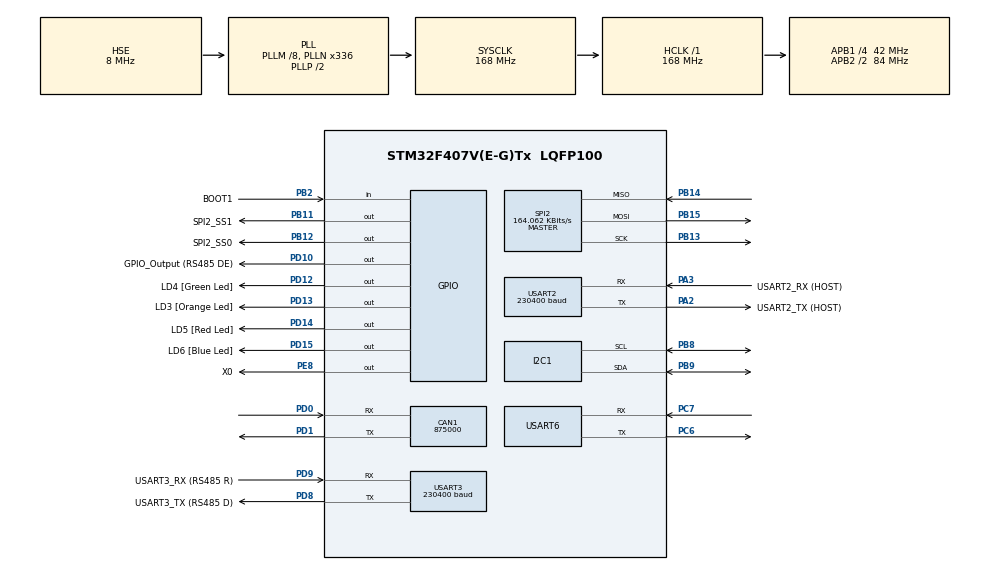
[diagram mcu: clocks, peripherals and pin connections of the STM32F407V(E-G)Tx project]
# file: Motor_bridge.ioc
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CAN1.CalculateBaudRate=875000
CAN1.CalculateTimeBit=1142
CAN1.CalculateTimeQuantum=380.95238095238096
Dma.Request0=USART2_RX
Dma.Request1=USART3_RX
Dma.USART2_RX.0.Direction=DMA_PERIPH_TO_MEMORY
Dma.USART2_RX.0.FIFOMode=DMA_FIFOMODE_DISABLE
Dma.USART2_RX.0.Instance=DMA1_Stream5
Dma.USART2_RX.0.MemDataAlignment=DMA_MDATAALIGN_BYTE
Dma.USART2_RX.0.MemInc=DMA_MINC_ENABLE
Dma.USART2_RX.0.Mode=DMA_NORMAL
Dma.USART2_RX.0.PeriphDataAlignment=DMA_PDATAALIGN_BYTE
Dma.USART2_RX.0.PeriphInc=DMA_PINC_DISABLE
Dma.USART2_RX.0.Priority=DMA_PRIORITY_HIGH
Dma.USART3_RX.1.Direction=DMA_PERIPH_TO_MEMORY
Dma.USART3_RX.1.FIFOMode=DMA_FIFOMODE_DISABLE
Dma.USART3_RX.1.Instance=DMA1_Stream1
Dma.USART3_RX.1.MemDataAlignment=DMA_MDATAALIGN_BYTE
Dma.USART3_RX.1.MemInc=DMA_MINC_ENABLE
Dma.USART3_RX.1.Mode=DMA_NORMAL
Dma.USART3_RX.1.PeriphDataAlignment=DMA_PDATAALIGN_BYTE
Dma.USART3_RX.1.PeriphInc=DMA_PINC_DISABLE
Dma.USART3_RX.1.Priority=DMA_PRIORITY_VERY_HIGH
FREERTOS.Tasks01=defaultTask,24,128,StartDefaultTask,Default,NULL,Dynamic,NULL,NULL
FREERTOS.configTOTAL_HEAP_SIZE=64000
FREERTOS.configUSE_NEWLIB_REENTRANT=1
Mcu.Family=STM32F4
Mcu.Name=STM32F407V(E-G)Tx
Mcu.Package=LQFP100
NVIC.DMA1_Stream1_IRQn=true\:5\:0\:false\:false\:true\:true\:false\:true\:true
NVIC.DMA1_Stream5_IRQn=true\:5\:0\:false\:false\:true\:true\:false\:true\:true
NVIC.PriorityGroup=NVIC_PRIORITYGROUP_4
NVIC.TIM6_DAC_IRQn=true\:15\:0\:false\:false\:true\:false\:false\:true\:true
NVIC.TimeBase=TIM6_DAC_IRQn
NVIC.TimeBaseIP=TIM6
NVIC.USART2_IRQn=true\:5\:0\:false\:false\:true\:true\:true\:true\:true
NVIC.USART3_IRQn=true\:5\:0\:false\:false\:true\:true\:true\:true\:true
PA13.GPIO_Label=SWDIO
PA13.Mode=Serial_Wire
PA13.Signal=SYS_JTMS-SWDIO
PA14.GPIO_Label=SWCLK
PA14.Mode=Serial_Wire
PA14.Signal=SYS_JTCK-SWCLK
PA2.GPIO_Label=USART2_TX (HOST)
PA2.Mode=Asynchronous
PA2.Signal=USART2_TX
PA3.GPIO_Label=USART2_RX (HOST)
PA3.Mode=Asynchronous
PA3.Signal=USART2_RX
PB11.GPIO_Label=SPI2_SS1
PB11.GPIO_PuPd=GPIO_PULLUP
PB11.Signal=GPIO_Output
PB12.GPIO_Label=SPI2_SS0
PB12.GPIO_PuPd=GPIO_PULLUP
PB12.Signal=GPIO_Output
PB13.Mode=Full_Duplex_Master
PB13.Signal=SPI2_SCK
PB14.Mode=Full_Duplex_Master
PB14.Signal=SPI2_MISO
PB15.Mode=Full_Duplex_Master
PB15.Signal=SPI2_MOSI
PB2.GPIO_Label=BOOT1
PB2.GPIO_PuPd=GPIO_PULLDOWN
PB2.Signal=GPIO_Input
PB3.Signal=SYS_JTDO-SWO
PB8.Mode=I2C
PB8.Signal=I2C1_SCL
PB9.Mode=I2C
PB9.Signal=I2C1_SDA
PC14-OSC32_IN.GPIO_Label=PC14-OSC32_IN
PC14-OSC32_IN.Mode=LSE-External-Oscillator
PC14-OSC32_IN.Signal=RCC_OSC32_IN
PC15-OSC32_OUT.GPIO_Label=PC15-OSC32_OUT
PC15-OSC32_OUT.Mode=LSE-External-Oscillator
PC15-OSC32_OUT.Signal=RCC_OSC32_OUT
PC6.Mode=Asynchronous
PC6.Signal=USART6_TX
PC7.Mode=Asynchronous
PC7.Signal=USART6_RX
PD0.Mode=CAN_Activate
PD0.Signal=CAN1_RX
PD1.Mode=CAN_Activate
PD1.Signal=CAN1_TX
PD10.GPIO_Label=GPIO_Output (RS485 DE)
PD10.GPIO_PuPd=GPIO_NOPULL
PD10.PinState=GPIO_PIN_RESET
PD10.Signal=GPIO_Output
PD12.GPIO_Label=LD4 [Green Led]
PD12.GPIO_PuPd=GPIO_NOPULL
PD12.GPIO_Speed=GPIO_SPEED_FREQ_LOW
PD12.Signal=GPIO_Output
PD13.GPIO_Label=LD3 [Orange Led]
PD13.GPIO_PuPd=GPIO_NOPULL
PD13.GPIO_Speed=GPIO_SPEED_FREQ_LOW
PD13.Signal=GPIO_Output
PD14.GPIO_Label=LD5 [Red Led]
PD14.GPIO_PuPd=GPIO_NOPULL
PD14.GPIO_Speed=GPIO_SPEED_FREQ_LOW
PD14.Signal=GPIO_Output
PD15.GPIO_Label=LD6 [Blue Led]
PD15.GPIO_PuPd=GPIO_NOPULL
PD15.GPIO_Speed=GPIO_SPEED_FREQ_LOW
PD15.Signal=GPIO_Output
PD8.GPIO_Label=USART3_TX (RS485 D)
PD8.Mode=Asynchronous
PD8.Signal=USART3_TX
PD9.GPIO_Label=USART3_RX (RS485 R)
PD9.Mode=Asynchronous
PD9.Signal=USART3_RX
PE8.GPIO_Label=X0
PE8.GPIO_PuPd=GPIO_PULLDOWN
PE8.PinState=GPIO_PIN_RESET
PE8.Signal=GPIO_Output
PH0-OSC_IN.GPIO_Label=PH0-OSC_IN
PH0-OSC_IN.Mode=HSE-External-Oscillator
PH0-OSC_IN.Signal=RCC_OSC_IN
PH1-OSC_OUT.GPIO_Label=PH1-OSC_OUT
PH1-OSC_OUT.Mode=HSE-External-Oscillator
PH1-OSC_OUT.Signal=RCC_OSC_OUT
ProjectManager.HeapSize=0x400
ProjectManager.StackSize=0x800
ProjectManager.TargetToolchain=STM32CubeIDE
RCC.48MHZClocksFreq_Value=48000000
RCC.AHBFreq_Value=168000000
RCC.APB1CLKDivider=RCC_HCLK_DIV4
RCC.APB1Freq_Value=42000000
RCC.APB1TimFreq_Value=84000000
RCC.APB2CLKDivider=RCC_HCLK_DIV2
RCC.APB2Freq_Value=84000000
RCC.APB2TimFreq_Value=168000000
RCC.CortexFreq_Value=168000000
RCC.HCLKFreq_Value=168000000
RCC.HSE_VALUE=8000000
RCC.HSI_VALUE=16000000
RCC.PLLM=8
RCC.PLLN=336
RCC.PLLQ=7
RCC.PLLSourceVirtual=RCC_PLLSOURCE_HSE
RCC.SYSCLKFreq_VALUE=168000000
RCC.SYSCLKSource=RCC_SYSCLKSOURCE_PLLCLK
RCC.VCOOutputFreq_Value=336000000
SPI2.BaudRatePrescaler=SPI_BAUDRATEPRESCALER_256
SPI2.CLKPhase=SPI_PHASE_2EDGE
SPI2.CLKPolarity=SPI_POLARITY_HIGH
SPI2.CalculateBaudRate=164.062 KBits/s
SPI2.Direction=SPI_DIRECTION_2LINES
SPI2.FirstBit=SPI_FIRSTBIT_LSB
SPI2.Mode=SPI_MODE_MASTER
SPI2.VirtualType=VM_MASTER
USART2.BaudRate=230400
USART2.VirtualMode=VM_ASYNC
USART3.BaudRate=230400
USART3.Parity=PARITY_EVEN
USART3.VirtualMode=VM_ASYNC
USART3.WordLength=WORDLENGTH_9B
USART6.VirtualMode=VM_ASYNC
VP_FREERTOS_VS_CMSIS_V2.Mode=CMSIS_V2
VP_SYS_VS_tim6.Mode=TIM6
board=STM32F407G-DISC1

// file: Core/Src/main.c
/* USER CODE BEGIN Header */
/**
 ******************************************************************************
 * @file           : main.c
 * @brief          : Main program body
 ******************************************************************************
 * @attention
 *
 * Copyright (c) 2025 STMicroelectronics.
 * All rights reserved.
 *
 * This software is licensed under terms that can be found in the LICENSE file
 * in the root directory of this software component.
 * If no LICENSE file comes with this software, it is provided AS-IS.
 *
 ******************************************************************************
 */
/* USER CODE END Header */
#include "main.h"
#include "cmsis_os.h"
#include "can.h"
#include "dma.h"
#include "i2c.h"
#include "spi.h"
#include "usart.h"
#include "gpio.h"

/* USER CODE BEGIN Includes */
#include <stdio.h>

#include "Agv_core/error_codes/error_common.h"
#include "agv_app.h"
/* USER CODE END Includes */

/* USER CODE BEGIN PV */
AgvCore agv_core;
AgvHostRosCfg host_ros_cfg;
AgvMotorBlvrConfig motor_blvr_cfg;
AgvCtrlPidConfig ctrl_pid_cfg;
AgvKineMecanumConfig kine_mecanum_cfg;
/* USER CODE END PV */

void SystemClock_Config(void);
void MX_FREERTOS_Init(void);

int main(void)
{

  /* MCU Configuration--------------------------------------------------------*/

  /* Reset of all peripherals, Initializes the Flash interface and the Systick. */
  HAL_Init();

  /* USER CODE BEGIN Init */
    setbuf(stdout, NULL);
  /* USER CODE END Init */

  /* Configure the system clock */
  SystemClock_Config();

  /* Initialize all configured peripherals */
  MX_GPIO_Init();
  MX_DMA_Init();
  MX_I2C1_Init();
  MX_USART2_UART_Init();
  MX_USART3_UART_Init();
  MX_CAN1_Init();
  MX_USART6_UART_Init();
  MX_SPI2_Init();
  /* USER CODE BEGIN 2 */
    Agv_garmin_init(&agv_core, &host_ros_cfg, &motor_blvr_cfg,
                    &kine_mecanum_cfg, &ctrl_pid_cfg);
    AGV_attach_core_task(&agv_core);
  /* USER CODE END 2 */

  /* Init scheduler */
  osKernelInitialize();  /* Call init function for freertos objects (in cmsis_os2.c) */
  MX_FREERTOS_Init();

  /* Start scheduler */
  osKernelStart();

  /* We should never get here as control is now taken by the scheduler */

  /* Infinite loop */
    while (1) {

    }
}

void SystemClock_Config(void)
{
  RCC_OscInitTypeDef RCC_OscInitStruct = {0};
  RCC_ClkInitTypeDef RCC_ClkInitStruct = {0};

  /** Configure the main internal regulator output voltage
  */
  __HAL_RCC_PWR_CLK_ENABLE();
  __HAL_PWR_VOLTAGESCALING_CONFIG(PWR_REGULATOR_VOLTAGE_SCALE1);

  /** Initializes the RCC Oscillators according to the specified parameters
  * in the RCC_OscInitTypeDef structure.
  */
  RCC_OscInitStruct.OscillatorType = RCC_OSCILLATORTYPE_HSE;
  RCC_OscInitStruct.HSEState = RCC_HSE_ON;
  RCC_OscInitStruct.PLL.PLLState = RCC_PLL_ON;
  RCC_OscInitStruct.PLL.PLLSource = RCC_PLLSOURCE_HSE;
  RCC_OscInitStruct.PLL.PLLM = 8;
  RCC_OscInitStruct.PLL.PLLN = 336;
  RCC_OscInitStruct.PLL.PLLP = RCC_PLLP_DIV2;
  RCC_OscInitStruct.PLL.PLLQ = 7;
  if (HAL_RCC_OscConfig(&RCC_OscInitStruct) != HAL_OK)
  {
    Error_Handler();
  }

  /** Initializes the CPU, AHB and APB buses clocks
  */
  RCC_ClkInitStruct.ClockType = RCC_CLOCKTYPE_HCLK|RCC_CLOCKTYPE_SYSCLK
                              |RCC_CLOCKTYPE_PCLK1|RCC_CLOCKTYPE_PCLK2;
  RCC_ClkInitStruct.SYSCLKSource = RCC_SYSCLKSOURCE_PLLCLK;
  RCC_ClkInitStruct.AHBCLKDivider = RCC_SYSCLK_DIV1;
  RCC_ClkInitStruct.APB1CLKDivider = RCC_HCLK_DIV4;
  RCC_ClkInitStruct.APB2CLKDivider = RCC_HCLK_DIV2;

  if (HAL_RCC_ClockConfig(&RCC_ClkInitStruct, FLASH_LATENCY_5) != HAL_OK)
  {
    Error_Handler();
  }
}

/* USER CODE BEGIN 4 */
int _write(int file, char* ptr, int len) {
    (void)file;
    for (int i = 0; i < len; i++) {
        ITM_SendChar((uint32_t)*ptr++);  // ITM Stimulus Port 0
    }
    return len;
}

/* USER CODE END 4 */

void HAL_TIM_PeriodElapsedCallback(TIM_HandleTypeDef *htim)
{
  if (htim->Instance == TIM6)
  {
    HAL_IncTick();
  }
}

void Error_Handler(void)
{
  /* USER CODE BEGIN Error_Handler_Debug */
    /* User can add his own implementation to report the HAL error return state
     */
    __disable_irq();
    while (1) {
    }
  /* USER CODE END Error_Handler_Debug */
}
#ifdef USE_FULL_ASSERT
/**
  * @brief  Reports the name of the source file and the source line number
  *         where the assert_param error has occurred.
  * @param  file: pointer to the source file name
  * @param  line: assert_param error line source number
  * @retval None
  */
void assert_failed(uint8_t *file, uint32_t line)
{
  /* USER CODE BEGIN 6 */
    /* User can add his own implementation to report the file name and line
       number, ex: printf("Wrong parameters value: file %s on line %d\r\n",
       file, line) */
  /* USER CODE END 6 */
}
#endif /* USE_FULL_ASSERT */

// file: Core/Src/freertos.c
/* USER CODE BEGIN Header */
/**
 ******************************************************************************
 * File Name          : freertos.c
 * Description        : Code for freertos applications
 ******************************************************************************
 * @attention
 *
 * Copyright (c) 2025 STMicroelectronics.
 * All rights reserved.
 *
 * This software is licensed under terms that can be found in the LICENSE file
 * in the root directory of this software component.
 * If no LICENSE file comes with this software, it is provided AS-IS.
 *
 ******************************************************************************
 */
/* USER CODE END Header */

#include "FreeRTOS.h"

#include "cmsis_os.h"
#include "main.h"
#include "task.h"

/* USER CODE BEGIN Includes */
#include <stdio.h>

#include "Agv_core/error_codes/error_common.h"
#include "Agv_core/utils.h"
#include "PS2_controller.h"
#include "agv_app.h"
#include "spi.h"
#include "usart.h"
/* USER CODE END Includes */

/* USER CODE BEGIN Variables */
static AgvCore* s_agv_core = NULL;

osThreadId_t agv_heartbeatTaskHandle;
const osThreadAttr_t agv_heartbeatTask_attributes = {
    .name = "AgvHeartbeat",
    .stack_size = 2048 * 4,
    .priority = (osPriority_t)osPriorityNormal,
};

osThreadId_t agv_sendOdomTaskHandle;
const osThreadAttr_t agv_sendOdomTask_attributes = {
    .name = "AgvSendOdom",
    .stack_size = 2048 * 4,
    .priority = (osPriority_t)osPriorityNormal,
};

osThreadId_t agv_hostMsgCallbackTaskHandle;
const osThreadAttr_t agv_hostMsgCallbackTask_attributes = {
    .name = "AgvHostMsgCallback",
    .stack_size = 1024 * 4,
    .priority = (osPriority_t)osPriorityNormal,
};

osThreadId_t joystickTaskHandle;
const osThreadAttr_t joystickTask_attributes = {
    .name = "joystickTask",
    .stack_size = 2048 * 4,
    .priority = (osPriority_t)osPriorityNormal,
};

osThreadId_t agv_motorIoTaskHandle;
const osThreadAttr_t agv_motorIoTask_attributes = {
    .name = "AgvMotorIo",
    .stack_size = 2048 * 4,
    .priority = (osPriority_t)osPriorityRealtime7,
};

osThreadId_t agv_bodyControlTaskHandle;
const osThreadAttr_t agv_modyControlTask_attributes = {
    .name = "AgvBodyControl",
    .stack_size = 2048 * 4,
    .priority = (osPriority_t)osPriorityHigh,
};

/* USER CODE END Variables */
/* Definitions for defaultTask */
osThreadId_t defaultTaskHandle;
const osThreadAttr_t defaultTask_attributes = {
    .name = "defaultTask",
    .stack_size = 128 * 4,
    .priority = (osPriority_t)osPriorityNormal,
};

/* USER CODE BEGIN FunctionPrototypes */
void AgvHeartbeatTask(void* argument);
void AgvSendOdomTask(void* argument);
void AgvHostMsgCallbackTask(void* argument);
void joystickTask(void* argument);
void AgvMotorIoTask(void* argument);
void AgvBodyControlTask(void* argument);
/* USER CODE END FunctionPrototypes */

void StartDefaultTask(void* argument);

void MX_FREERTOS_Init(void); /* (MISRA C 2004 rule 8.1) */

void MX_FREERTOS_Init(void) {

    /* Create the thread(s) */
    /* creation of defaultTask */
    defaultTaskHandle =
        osThreadNew(StartDefaultTask, NULL, &defaultTask_attributes);

    /* USER CODE BEGIN RTOS_THREADS */
    /* add threads, ... */
    agv_heartbeatTaskHandle =
        osThreadNew(AgvHeartbeatTask, NULL, &agv_heartbeatTask_attributes);
    agv_sendOdomTaskHandle =
        osThreadNew(AgvSendOdomTask, NULL, &agv_sendOdomTask_attributes);
    agv_hostMsgCallbackTaskHandle = osThreadNew(
        AgvHostMsgCallbackTask, NULL, &agv_hostMsgCallbackTask_attributes);
    joystickTaskHandle =
        osThreadNew(joystickTask, NULL, &joystickTask_attributes);
    agv_motorIoTaskHandle =
        osThreadNew(AgvMotorIoTask, NULL, &agv_motorIoTask_attributes);
    agv_bodyControlTaskHandle =
        osThreadNew(AgvBodyControlTask, NULL, &agv_modyControlTask_attributes);
    /* USER CODE END RTOS_THREADS */

}

void StartDefaultTask(void* argument) {
    for (;;) {
        osDelay(1);
    }
}

/* USER CODE BEGIN Application */

int AGV_attach_core_task(AgvCore* agv_core) {
    if (!agv_core) return -1;
    s_agv_core = agv_core;
    return 0;
}

void AgvHeartbeatTask(void* argument) {
    LOG("Task", "Start monitoring modules heartbeat");
    int code = AGV_OK;
    for (;;) {
        code = AgvCore_get_modules_state(s_agv_core);
        code = AgvCore_enable_motor(s_agv_core);
        vTaskDelay(200);
        HAL_GPIO_TogglePin(GPIOD, GPIO_PIN_15);
    }
}

void AgvSendOdomTask(void* argument) {
    int send_count = 0;
    LOG("Task", "Start sending odom ...");
    for (;;) {
        Odometry odom;
        odom.pose.x = 1.0;
        odom.pose.y = 2.0;
        odom.pose.yaw = 3.0;
        int code = s_agv_core->host_communication_base.send_odom(
            &s_agv_core->host_communication_base, &odom);
        if (code == AGV_OK)
            printf("Odom sent %d \n", send_count++);
        else
            printf("error code: %d", code);
        vTaskDelay(5000);
    }
}

void AgvHostMsgCallbackTask(void* argument) {
    LOG("Task", "Start processing host msg...");
    for (;;) {
        int code = AgvCore_step_on_host_msg(s_agv_core);
    }
}

void joystickTask(void* argument) {
    LOG("Task", "Start updating joystick...");
    Ps2CommCfg cfg;
    cfg.hspi = &hspi2;
    cfg.cs_port = GPIOB;
    cfg.cs_pin = GPIO_PIN_12;
    Ps2Cmd cmd;
    cmd.reset = 0;
    cmd.vx = 0;
    cmd.vy = 0;
    cmd.vyaw = 0;

    PS2_init(&cfg);

    for (;;) {
        PS2_update(&cmd);
        static int time = 0;
        time++;
        if (time == 5) {
            LOG("Joystick_task", "cmd: %f %f %f %d", cmd.vx, cmd.vy, cmd.vyaw,
                cmd.reset);
            time = 0;
        }
        if (cmd.reset) {
            AgvCore_reset_motor(s_agv_core);
        } else {
            Twist2D cmd_in;
            cmd_in.x = cmd.vx;
            cmd_in.y = cmd.vy;
            cmd_in.yaw = cmd.vyaw;
            AgvCore_set_cmd_vel(s_agv_core, cmd_in);
        }
        vTaskDelay(100);  // 10 Hz
    }
}

void AgvMotorIoTask(void* argument) {
    LOG("Task", "Start motors io...");
    for (;;) {
        int code = AgvCore_step_motor_io(s_agv_core);
        if (code != AGV_OK) printf("Motor Io error code: %d\n", code);
        vTaskDelay(10);  // 100 Hz
    }
}

void AgvBodyControlTask(void* argument) {
    LOG("Task", "Start body control...");
    for (;;) {
        int code = AgvCore_step_body_control(s_agv_core);
        if (code != AGV_OK) printf("Motor Io error code: %d\n", code);
        vTaskDelay(10);
    }
}

/* USER CODE END Application */
